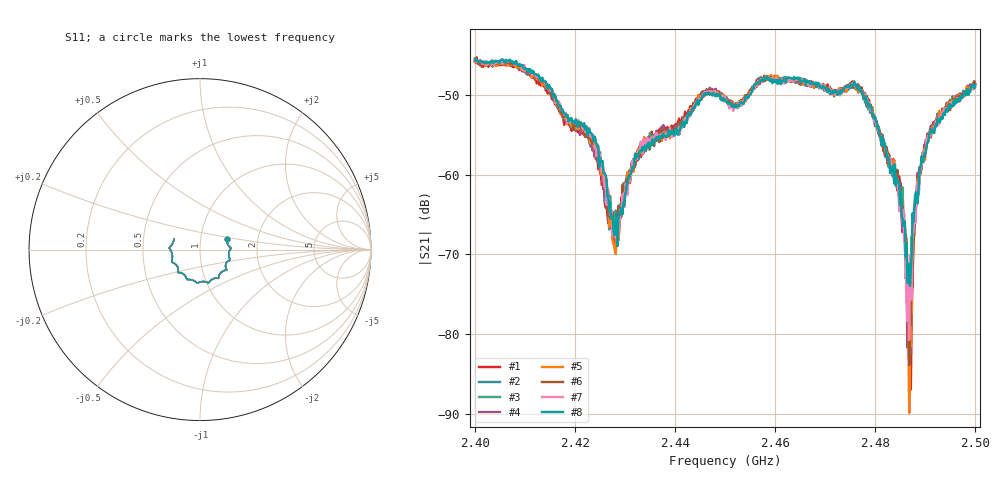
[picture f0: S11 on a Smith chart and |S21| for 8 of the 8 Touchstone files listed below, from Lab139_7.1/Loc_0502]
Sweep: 2.4 GHz to 2.5 GHz
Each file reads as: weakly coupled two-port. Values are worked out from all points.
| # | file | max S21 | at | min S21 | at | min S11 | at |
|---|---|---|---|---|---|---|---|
| 1 | Lab_139_1Ch1.s2p | -45.73 dB | 2.4003 GHz | -87.0 dB | 2.4872 GHz | -15.8 dB | 2.4993 GHz |
| 2 | Lab_139_2Ch1.s2p | -45.60 dB | 2.4007 GHz | -82.7 dB | 2.487 GHz | -15.8 dB | 2.4993 GHz |
| 3 | Lab_139_3Ch1.s2p | -45.50 dB | 2.4002 GHz | -87.6 dB | 2.4868 GHz | -15.8 dB | 2.4992 GHz |
| 4 | Lab_139_5Ch1.s2p | -45.63 dB | 2.4008 GHz | -82.4 dB | 2.487 GHz | -15.8 dB | 2.499 GHz |
| 5 | Lab_139_7Ch1.s2p | -45.72 dB | 2.4002 GHz | -89.9 dB | 2.4868 GHz | -15.8 dB | 2.499 GHz |
| 6 | Lab_139_8Ch1.s2p | -45.24 dB | 2.4003 GHz | -83.9 dB | 2.4868 GHz | -15.8 dB | 2.4993 GHz |
| 7 | Lab_139_9Ch1.s2p | -45.55 dB | 2.4035 GHz | -80.7 dB | 2.4868 GHz | -15.8 dB | 2.4993 GHz |
| 8 | Lab_139_10Ch1.s2p | -45.41 dB | 2.4 GHz | -73.9 dB | 2.487 GHz | -15.8 dB | 2.499 GHz |
